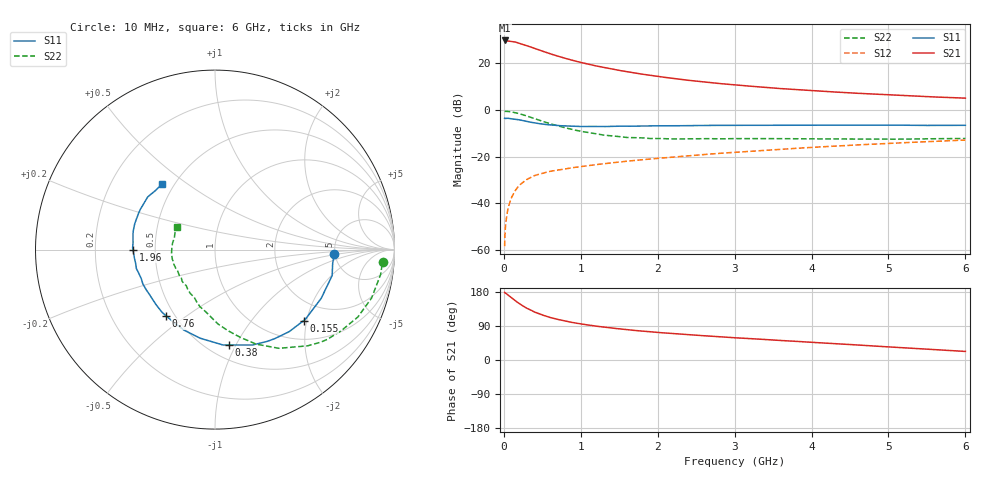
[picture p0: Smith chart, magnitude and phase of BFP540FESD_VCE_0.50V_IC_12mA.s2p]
! Infineon Technologies  Discrete & RF Semiconductors
! BFP540FESD
! VCE = 0.50 V,  IC =  12 mA
! Common Emitter S-Parameters:  Nov 2015
# GHz  S  MA  R  50
!  f  S11  S21  S12  S22
! GHz  MAG  ANG  MAG  ANG  MAG  ANG  MAG  ANG
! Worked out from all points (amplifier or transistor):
!   210 points, 10 MHz to 6 GHz, reference 50 ohm
!   highest |S21| = 29.8 dB at 10 MHz (marker M1)
!   |S21| within 3 dB of that: start of sweep to 364.8 MHz
!   unconditionally stable (mu >= 1): 1.985 GHz to end of sweep
!   at 185 MHz: K = 0.21, MSG = 30.9 dB, |S12| = -33.0 dB
!   at 1.52 GHz: K = 0.90, MSG = 19.6 dB, |S12| = -22.3 dB
!   at 6 GHz: K = 1.18, MAG = 6.4 dB, |S12| = -12.9 dB
!   S11 on the Smith chart (normalised r, x): 10 MHz: 4.96, -0.39; 155 MHz: 1.45, -1.92; 380 MHz: 0.63, -0.94; 760 MHz: 0.45, -0.42; 1.96 GHz: 0.37, -0.00; 6 GHz: 0.43, +0.40
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0.01  0.666 -1.9  31.05 178.2  0.0012 98.2  0.9375 -4.3
0.02  0.66 -6.6  30.25 176.9  0.003 94.9  0.9373 -3.3
0.05  0.6685 -12.5  30.31 172.1  0.0071 83.5  0.933 -8.6
0.1  0.651 -24.7  29.64 163.8  0.0132 78.4  0.9132 -17.2
0.155  0.633 -38.7  28.52 155.4  0.0194 72.9  0.8748 -26.0
0.2  0.6162 -47.9  27.17 148.8  0.0241 70.1  0.8353 -32.9
0.26  0.5885 -60.3  25.27 141.3  0.029 65.9  0.7831 -41.2
0.3  0.5712 -68.5  24.05 136.4  0.0324 62.9  0.7441 -46.1
0.38  0.5371 -81.7  21.54 128.7  0.0379 59.0  0.6706 -54.7
0.5  0.5007 -99.4  18.37 118.6  0.0438 54.3  0.5743 -66.5
0.6  0.4808 -111.1  16.09 112.3  0.0484 52.4  0.509 -73.9
0.76  0.4587 -126.4  13.4 104.5  0.0536 50.6  0.4317 -84.7
0.9  0.4489 -137.4  11.53 98.6  0.058 49.7  0.3787 -93.1
1.02  0.4428 -144.7  10.31 94.6  0.0619 49.2  0.3454 -99.7
1.2  0.4451 -154.7  8.823 89.3  0.0675 48.9  0.3093 -109.2
1.5  0.4506 -166.4  7.075 82.2  0.0764 48.3  0.2708 -123.7
1.96  0.4573 -180.0  5.372 73.5  0.0906 48.3  0.2449 -142.3
2.02  0.4589 178.4  5.202 72.4  0.0923 48.2  0.2448 -144.3
3.1  0.4697 160.6  3.349 57.6  0.1267 45.1  0.2433 -168.2
4.1  0.4723 150.7  2.548 45.5  0.1612 40.3  0.2404 177.1
5.1  0.4738 140.6  2.083 33.4  0.1956 32.9  0.2367 162.6
6  0.4697 129.1  1.797 22.6  0.2268 25.8  0.2449 148.6
